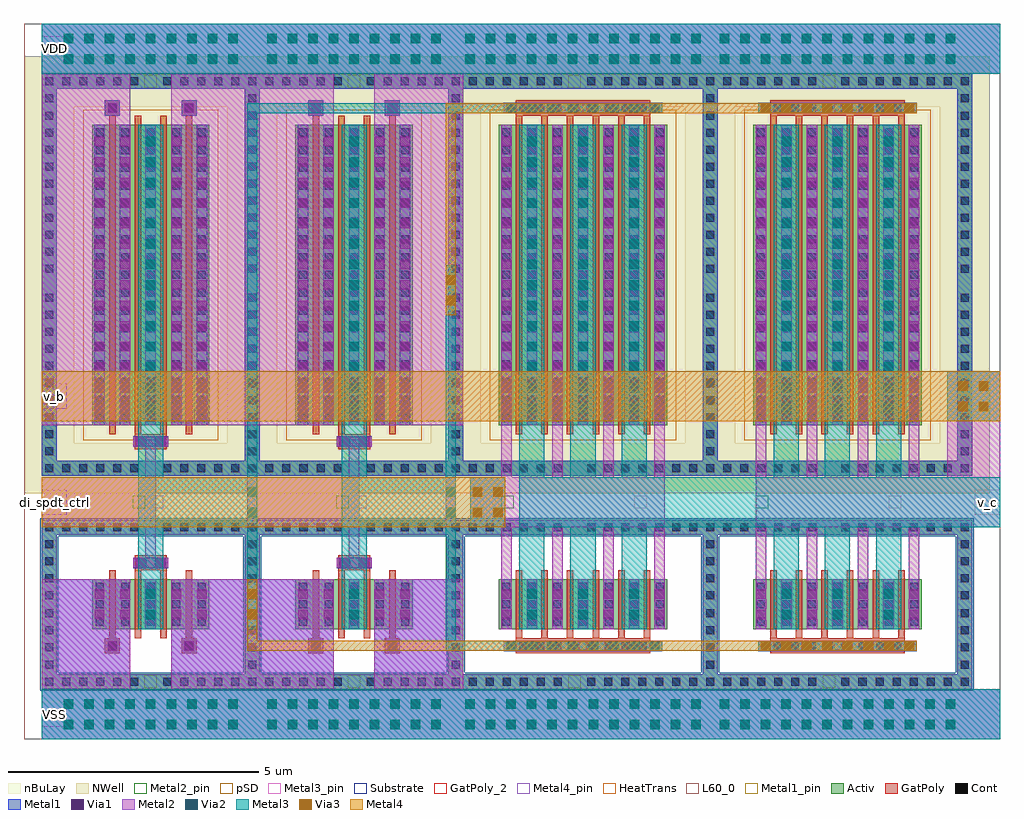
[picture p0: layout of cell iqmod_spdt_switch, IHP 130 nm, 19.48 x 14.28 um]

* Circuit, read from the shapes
.subckt iqmod_spdt_switch VDD VSS di_spdt_ctrl v_a v_b v_c
XM1 VSS VSS VSS VSS sg13_lv_nmos w=1u l=0.13u m=4
XM2 spdt_switch_tg_2/di_tg_ctrl di_spdt_ctrl VSS VSS sg13_lv_nmos w=1u l=0.13u m=2
XM3 spdt_switch_tg_1/di_tg_ctrl spdt_switch_tg_2/di_tg_ctrl VSS VSS sg13_lv_nmos w=1u l=0.13u m=2
XM4 v_c spdt_switch_tg_1/di_tg_ctrl v_a VSS sg13_lv_nmos w=1u l=0.13u m=6
XM5 v_c spdt_switch_tg_2/di_tg_ctrl v_b VSS sg13_lv_nmos w=1u l=0.13u m=6
XM6 VDD VDD VDD VDD sg13_lv_pmos w=6u l=0.13u m=4
XM7 spdt_switch_tg_2/di_tg_ctrl di_spdt_ctrl VDD VDD sg13_lv_pmos w=6u l=0.13u m=2
XM8 spdt_switch_tg_1/di_tg_ctrl spdt_switch_tg_2/di_tg_ctrl VDD VDD sg13_lv_pmos w=6u l=0.13u m=2
XM9 v_c spdt_switch_tg_2/di_tg_ctrl v_a VDD sg13_lv_pmos w=6u l=0.13u m=6
XM10 v_c spdt_switch_tg_1/di_tg_ctrl v_b VDD sg13_lv_pmos w=6u l=0.13u m=6
.ends

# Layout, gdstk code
from math import pi, radians
import gdstk
lib = gdstk.Library(unit=1e-6, precision=1e-09)
def R(c, l, rs):  # rectangles x0, y0, x1, y1
    for r in rs: c.add(gdstk.rectangle(r[:2], r[2:], *l))
def A(c, l, x, y, w, h, nx, ny, dx, dy):  # array of equal rectangles
    R(c, l, [(x+i*dx, y+j*dy, x+i*dx+w, y+j*dy+h) for i in range(nx) for j in range(ny)])
def P(c, l, *ps):  # polygons
    for p in ps: c.add(gdstk.Polygon(p, *l))
Activ = (1, 0)
GatPoly = (5, 0)
GatPoly_2 = (5, 2)
Cont = (6, 0)
Metal1 = (8, 0)
Metal1_pin = (8, 2)
Metal2 = (10, 0)
Metal2_pin = (10, 2)
pSD = (14, 0)
Via1 = (19, 0)
Via2 = (29, 0)
Metal3 = (30, 0)
Metal3_pin = (30, 2)
NWell = (31, 0)
nBuLay = (32, 0)
Substrate = (40, 0)
Via3 = (49, 0)
Metal4 = (50, 0)
Metal4_pin = (50, 2)
HeatTrans = (51, 0)
L60_0 = (60, 0)

nmos_78 = lib.new_cell('nmos$78')
A(nmos_78, Activ, 0, 0, 0.3, 0.3, 5, 1, 0.51, 0)
R(nmos_78, Activ, [(-1.01,-0.89,-0.71,1.89), (3.05,-0.89,3.35,1.89), (0,0,2.34,1), (-1.01,1.89,3.35,2.19)])
P(nmos_78, Activ, [(-1.01,-1.19),(-1.01,1.89),(-0.71,1.89),(-0.71,-0.89),(3.05,-0.89),(3.05,1.89),(-1.01,1.89),(-1.01,2.19),(3.35,2.19),(3.35,-1.19)])
A(nmos_78, GatPoly, 0.34, -0.18, 0.13, 1.36, 4, 1, 0.51, 0)
R(nmos_78, GatPoly_2, [(0.34,-0.18,0.47,1.18)])
A(nmos_78, Cont, -0.94, -1.12, 0.16, 0.16, 6, 2, 0.34, 3.08)
A(nmos_78, Cont, 1.42, -1.12, 0.16, 0.16, 6, 2, 0.34, 3.08)
A(nmos_78, Cont, -0.94, -0.78, 0.16, 0.16, 1, 4, 0, 0.34)
A(nmos_78, Cont, 3.12, -0.78, 0.16, 0.16, 1, 4, 0, 0.34)
A(nmos_78, Cont, 0.07, 0.07, 0.16, 0.16, 5, 3, 0.51, 0.35)
A(nmos_78, Cont, -0.94, 0.6, 0.16, 0.16, 1, 4, 0, 0.34)
A(nmos_78, Cont, 3.12, 0.6, 0.16, 0.16, 1, 4, 0, 0.34)
A(nmos_78, Metal1, 0.07, 0, 0.16, 1, 5, 1, 0.51, 0)
R(nmos_78, Metal1, [(-1.01,-1.19,3.35,-0.89), (-1.01,-0.89,-0.71,1.89), (3.05,-0.89,3.35,1.89), (-1.01,1.89,3.35,2.19)])
R(nmos_78, Metal1_pin, [(0.07,0,0.23,1), (0.58,0,0.74,1)])
R(nmos_78, pSD, [(-1.04,-0.86,-0.68,1.86), (3.02,-0.86,3.38,1.86), (-1.04,1.86,3.38,2.22)])
P(nmos_78, pSD, [(-1.04,-1.22),(-1.04,1.86),(-0.68,1.86),(-0.68,-0.86),(3.02,-0.86),(3.02,1.86),(-1.04,1.86),(-1.04,2.22),(3.38,2.22),(3.38,-1.22)])
R(nmos_78, Substrate, [(-1.04,-0.86,-0.68,1.86), (3.02,-0.86,3.38,1.86), (-1.04,1.86,3.38,2.22)])
P(nmos_78, Substrate, [(-1.04,-1.22),(-1.04,1.86),(-0.68,1.86),(-0.68,-0.86),(3.02,-0.86),(3.02,1.86),(-1.04,1.86),(-1.04,2.22),(3.38,2.22),(3.38,-1.22)])
A(nmos_78, HeatTrans, 0.34, -0.18, 0.13, 1.36, 4, 1, 0.51, 0)
nmos_78.add(gdstk.Label('nmos', (0.405,0.5), layer=63, texttype=0))
nmos_78.add(gdstk.Label('sub!', (1.17,-1.04), layer=63, texttype=0))
nmos_78.add(gdstk.Label('nmos', (0.405,0.5), layer=51, texttype=0))
nmos_78.add(gdstk.Label('nmos', (0.915,0.5), layer=51, texttype=0))
nmos_78.add(gdstk.Label('nmos', (1.425,0.5), layer=51, texttype=0))
nmos_78.add(gdstk.Label('nmos', (1.935,0.5), layer=51, texttype=0))

pmos_78 = lib.new_cell('pmos$78')
A(pmos_78, Activ, 0, 0, 0.3, 0.3, 5, 1, 0.51, 0)
R(pmos_78, Activ, [(-1.01,-0.71,-0.71,6.71), (3.05,-0.71,3.35,6.71), (0,0,2.34,6), (-1.01,6.71,3.35,7.01)])
P(pmos_78, Activ, [(-1.01,-1.01),(-1.01,6.71),(-0.71,6.71),(-0.71,-0.71),(3.05,-0.71),(3.05,6.71),(-1.01,6.71),(-1.01,7.01),(3.35,7.01),(3.35,-1.01)])
A(pmos_78, GatPoly, 0.34, -0.18, 0.13, 6.36, 4, 1, 0.51, 0)
R(pmos_78, GatPoly, [(0.34,-0.18,0.47,6.18)])
A(pmos_78, Cont, -0.94, -0.94, 0.16, 0.16, 6, 2, 0.34, 7.72)
A(pmos_78, Cont, 1.42, -0.94, 0.16, 0.16, 6, 2, 0.34, 7.72)
A(pmos_78, Cont, -0.94, -0.6, 0.16, 0.16, 1, 10, 0, 0.34)
A(pmos_78, Cont, 3.12, -0.6, 0.16, 0.16, 1, 10, 0, 0.34)
A(pmos_78, Cont, 0.07, 0.07, 0.16, 0.16, 5, 4, 0.51, 0.355)
A(pmos_78, Cont, 0.07, 1.495, 0.16, 0.16, 5, 4, 0.51, 0.355)
A(pmos_78, Cont, 0.07, 2.92, 0.16, 0.16, 5, 4, 0.51, 0.355)
A(pmos_78, Cont, -0.94, 3.04, 0.16, 0.16, 1, 11, 0, 0.34)
A(pmos_78, Cont, 3.12, 3.04, 0.16, 0.16, 1, 11, 0, 0.34)
A(pmos_78, Cont, 0.07, 4.345, 0.16, 0.16, 5, 4, 0.51, 0.355)
A(pmos_78, Cont, 0.07, 5.77, 0.16, 0.16, 5, 1, 0.51, 0)
A(pmos_78, Metal1, 0.58, 0, 0.16, 6, 4, 1, 0.51, 0)
R(pmos_78, Metal1, [(-1.01,-1.01,3.35,-0.71), (-1.01,-0.71,-0.71,6.71), (3.05,-0.71,3.35,6.71), (0.07,0,0.23,6), (0.07,0,0.23,6), (0.58,0,0.74,6), (-1.01,6.71,3.35,7.01)])
R(pmos_78, pSD, [(-0.18,-0.3,2.52,6.3)])
R(pmos_78, NWell, [(-1.36,-1.36,3.7,7.36), (-0.31,-0.31,2.65,6.31)])
R(pmos_78, nBuLay, [(-1.36,-0.36,-0.36,6.36), (2.7,-0.36,3.7,6.36), (-1.36,6.36,3.7,7.36)])
P(pmos_78, nBuLay, [(-1.36,-1.36),(-1.36,6.36),(-0.36,6.36),(-0.36,-0.36),(2.7,-0.36),(2.7,6.36),(-1.36,6.36),(-1.36,7.36),(3.7,7.36),(3.7,-1.36)])
R(pmos_78, Substrate, [(2.04,0,2.34,0.3)])
A(pmos_78, HeatTrans, 0.34, -0.18, 0.13, 6.36, 4, 1, 0.51, 0)
pmos_78.add(gdstk.Label('pmos', (0.405,3), layer=63, texttype=0))
pmos_78.add(gdstk.Label('well', (1.17,-0.86), layer=63, texttype=0))
pmos_78.add(gdstk.Label('pmos', (0.405,3), layer=51, texttype=0))
pmos_78.add(gdstk.Label('pmos', (0.915,3), layer=51, texttype=0))
pmos_78.add(gdstk.Label('pmos', (1.425,3), layer=51, texttype=0))
pmos_78.add(gdstk.Label('pmos', (1.935,3), layer=51, texttype=0))

via_stack_726 = lib.new_cell('via_stack$726')
R(via_stack_726, GatPoly, [(-0.32,-0.15,0.32,0.15)])
R(via_stack_726, Cont, [(-0.25,-0.08,-0.09,0.08), (0.09,-0.08,0.25,0.08)])
R(via_stack_726, Metal1, [(-0.35,-0.105,0.35,0.105)])
R(via_stack_726, Metal2, [(-0.35,-0.1,0.35,0.1)])
R(via_stack_726, Via1, [(-0.3,-0.095,-0.11,0.095), (0.11,-0.095,0.3,0.095)])

via_stack_727 = lib.new_cell('via_stack$727')
R(via_stack_727, GatPoly, [(-0.15,-0.15,0.15,0.15)])
R(via_stack_727, Cont, [(-0.08,-0.08,0.08,0.08)])
R(via_stack_727, Metal1, [(-0.145,-0.105,0.145,0.105)])
R(via_stack_727, Metal2, [(-0.145,-0.1,0.145,0.1)])
R(via_stack_727, Via1, [(-0.095,-0.095,0.095,0.095)])

via_stack_728 = lib.new_cell('via_stack$728')
R(via_stack_728, Metal1, [(-0.105,-0.35,0.105,0.35)])
R(via_stack_728, Metal2, [(-0.1,-0.35,0.1,0.35)])
R(via_stack_728, Via1, [(-0.095,-0.3,0.095,-0.11), (-0.095,0.11,0.095,0.3)])
R(via_stack_728, Via2, [(-0.095,-0.3,0.095,-0.11), (-0.095,0.11,0.095,0.3)])
R(via_stack_728, Metal3, [(-0.1,-0.35,0.1,0.35)])

via_stack_729 = lib.new_cell('via_stack$729')
R(via_stack_729, Metal1, [(-0.105,-2.81,0.105,2.81)])
R(via_stack_729, Metal2, [(-0.1,-2.81,0.1,2.81)])
A(via_stack_729, Via1, -0.095, -2.76, 0.19, 0.19, 1, 14, 0, 0.41)
A(via_stack_729, Via2, -0.095, -2.76, 0.19, 0.19, 1, 14, 0, 0.41)
R(via_stack_729, Metal3, [(-0.1,-2.81,0.1,2.81)])

via_stack_730 = lib.new_cell('via_stack$730')
R(via_stack_730, Metal1, [(-1.785,-0.31,1.785,0.31)])
R(via_stack_730, Metal2, [(-1.785,-0.305,1.785,0.305)])
A(via_stack_730, Via1, -1.735, -0.3, 0.19, 0.19, 9, 2, 0.41, 0.41)
A(via_stack_730, Via2, -1.735, -0.3, 0.19, 0.19, 9, 2, 0.41, 0.41)
R(via_stack_730, Metal3, [(-1.785,-0.305,1.785,0.305)])

via_stack_731 = lib.new_cell('via_stack$731')
R(via_stack_731, Metal1, [(-0.105,-0.35,0.105,0.35)])
R(via_stack_731, Metal2, [(-0.1,-0.35,0.1,0.35)])
R(via_stack_731, Via1, [(-0.095,-0.3,0.095,-0.11), (-0.095,0.11,0.095,0.3)])

via_stack_732 = lib.new_cell('via_stack$732')
R(via_stack_732, Metal1, [(-0.105,-2.81,0.105,2.81)])
R(via_stack_732, Metal2, [(-0.1,-2.81,0.1,2.81)])
A(via_stack_732, Via1, -0.095, -2.76, 0.19, 0.19, 1, 14, 0, 0.41)

spdt_switch_inv = lib.new_cell('spdt_switch_inv')
A(spdt_switch_inv, Metal1, 1.405, 6.27, 0.21, 6, 5, 1, 0.51, 0)
R(spdt_switch_inv, Metal1, [(0.35,0,4.71,1), (0.35,1,2.125,3.19), (2.28,1,2.78,1.3), (2.935,1,4.71,3.19), (1.615,1.71,1.915,2.01), (3.145,1.71,3.445,2.01), (2.425,2.19,2.635,3.19), (1.615,12.45,1.915,12.75), (3.145,12.45,3.445,12.75), (2.28,12.98,2.78,13.28), (0.35,13.28,4.71,14.28)])
R(spdt_switch_inv, Metal1_pin, [(2.405,1.025,2.655,1.275), (2.405,13.005,2.655,13.255)])
A(spdt_switch_inv, Metal2, 1.405, 6.27, 0.21, 6, 5, 1, 0.51, 0)
R(spdt_switch_inv, Metal2, [(0.35,0,4.71,1), (0.35,1,2.125,3.19), (2.935,1,4.71,3.19), (1.615,1.71,1.915,2.01), (3.145,1.71,3.445,2.01), (2.425,2.19,2.635,3.19), (2.425,3.62,2.635,5.84), (2.175,4.23,2.425,5.23), (0.35,6.27,2.125,13.28), (0.35,6.27,2.125,13.28), (2.935,6.27,4.71,13.28), (2.935,6.27,4.71,13.28), (1.615,12.45,1.915,12.75), (3.145,12.45,3.445,12.75), (0.35,13.28,4.71,14.28)])
R(spdt_switch_inv, Metal2_pin, [(2.175,4.605,2.425,4.855)])
R(spdt_switch_inv, Metal3, [(0.35,0,4.71,1), (2.28,2.19,2.78,12.27), (2.425,2.19,2.635,3.19), (2.28,4.23,2.78,5.23), (2.425,6.27,2.635,12.27), (0.35,13.28,4.71,14.28)])
P(spdt_switch_inv, Metal3, [(3.03,4.98),(3.03,4.98),(3.03,4.98),(3.03,4.98)])
R(spdt_switch_inv, Metal3_pin, [(2.53,4.605,2.78,4.855)])
spdt_switch_inv.add(gdstk.Reference(nmos_78, (1.36,2.19)))
spdt_switch_inv.add(gdstk.Reference(pmos_78, (1.36,6.27)))
spdt_switch_inv.add(gdstk.Reference(via_stack_726, (2.53,3.52)))
spdt_switch_inv.add(gdstk.Reference(via_stack_726, (2.53,5.94)))
spdt_switch_inv.add(gdstk.Reference(via_stack_727, (1.765,1.86)))
spdt_switch_inv.add(gdstk.Reference(via_stack_728, (2.53,2.69)))
spdt_switch_inv.add(gdstk.Reference(via_stack_727, (3.295,1.86)))
spdt_switch_inv.add(gdstk.Reference(via_stack_729, (2.53,9.27)))
spdt_switch_inv.add(gdstk.Reference(via_stack_730, (2.53,0.5)))
spdt_switch_inv.add(gdstk.Reference(via_stack_731, (3.55,2.69)))
spdt_switch_inv.add(gdstk.Reference(via_stack_731, (3.04,2.69)))
spdt_switch_inv.add(gdstk.Reference(via_stack_731, (2.02,2.69)))
spdt_switch_inv.add(gdstk.Reference(via_stack_731, (1.51,2.69)))
spdt_switch_inv.add(gdstk.Reference(via_stack_730, (2.53,13.78)))
spdt_switch_inv.add(gdstk.Reference(via_stack_727, (3.295,12.6), rotation=pi, x_reflection=True))
spdt_switch_inv.add(gdstk.Reference(via_stack_727, (1.765,12.6)))
spdt_switch_inv.add(gdstk.Reference(via_stack_732, (1.51,9.27)))
spdt_switch_inv.add(gdstk.Reference(via_stack_732, (3.55,9.27), rotation=pi, x_reflection=True))
spdt_switch_inv.add(gdstk.Reference(via_stack_732, (2.02,9.27)))
spdt_switch_inv.add(gdstk.Reference(via_stack_732, (3.04,9.27), rotation=pi, x_reflection=True))
spdt_switch_inv.add(gdstk.Label('vin', (2.3,4.73), layer=10, texttype=25))
spdt_switch_inv.add(gdstk.Label('VDD', (2.53,13.13), layer=8, texttype=25))
spdt_switch_inv.add(gdstk.Label('VSS', (2.53,1.15), layer=8, texttype=25))
spdt_switch_inv.add(gdstk.Label('vout', (2.655,4.73), layer=30, texttype=25))

pmos_79 = lib.new_cell('pmos$79')
A(pmos_79, Activ, 0, 0, 0.3, 0.3, 7, 1, 0.51, 0)
R(pmos_79, Activ, [(-1.01,-0.71,-0.71,6.71), (4.07,-0.71,4.37,6.71), (0,0,3.36,6), (-1.01,6.71,4.37,7.01)])
P(pmos_79, Activ, [(-1.01,-1.01),(-1.01,6.71),(-0.71,6.71),(-0.71,-0.71),(4.07,-0.71),(4.07,6.71),(-1.01,6.71),(-1.01,7.01),(4.37,7.01),(4.37,-1.01)])
A(pmos_79, GatPoly, 0.34, -0.18, 0.13, 6.36, 6, 1, 0.51, 0)
R(pmos_79, GatPoly, [(0.34,-0.18,0.47,6.18)])
A(pmos_79, Cont, -0.94, -0.94, 0.16, 0.16, 7, 2, 0.34, 7.72)
A(pmos_79, Cont, 1.76, -0.94, 0.16, 0.16, 8, 2, 0.34, 7.72)
A(pmos_79, Cont, -0.94, -0.6, 0.16, 0.16, 1, 10, 0, 0.34)
A(pmos_79, Cont, 4.14, -0.6, 0.16, 0.16, 1, 10, 0, 0.34)
A(pmos_79, Cont, 0.07, 0.07, 0.16, 0.16, 7, 4, 0.51, 0.355)
A(pmos_79, Cont, 0.07, 1.495, 0.16, 0.16, 7, 4, 0.51, 0.355)
A(pmos_79, Cont, 0.07, 2.92, 0.16, 0.16, 7, 4, 0.51, 0.355)
A(pmos_79, Cont, -0.94, 3.04, 0.16, 0.16, 1, 11, 0, 0.34)
A(pmos_79, Cont, 4.14, 3.04, 0.16, 0.16, 1, 11, 0, 0.34)
A(pmos_79, Cont, 0.07, 4.345, 0.16, 0.16, 7, 4, 0.51, 0.355)
A(pmos_79, Cont, 0.07, 5.77, 0.16, 0.16, 7, 1, 0.51, 0)
A(pmos_79, Metal1, 0.58, 0, 0.16, 6, 6, 1, 0.51, 0)
R(pmos_79, Metal1, [(-1.01,-1.01,4.37,-0.71), (-1.01,-0.71,-0.71,6.71), (4.07,-0.71,4.37,6.71), (0.07,0,0.23,6), (0.07,0,0.23,6), (0.58,0,0.74,6), (-1.01,6.71,4.37,7.01)])
R(pmos_79, pSD, [(-0.18,-0.3,3.54,6.3)])
R(pmos_79, NWell, [(-1.36,-1.36,4.72,7.36), (-0.31,-0.31,3.67,6.31)])
R(pmos_79, nBuLay, [(-1.36,-0.36,-0.36,6.36), (3.72,-0.36,4.72,6.36), (-1.36,6.36,4.72,7.36)])
P(pmos_79, nBuLay, [(-1.36,-1.36),(-1.36,6.36),(-0.36,6.36),(-0.36,-0.36),(3.72,-0.36),(3.72,6.36),(-1.36,6.36),(-1.36,7.36),(4.72,7.36),(4.72,-1.36)])
R(pmos_79, Substrate, [(3.06,0,3.36,0.3)])
A(pmos_79, HeatTrans, 0.34, -0.18, 0.13, 6.36, 6, 1, 0.51, 0)
pmos_79.add(gdstk.Label('pmos', (0.405,3), layer=63, texttype=0))
pmos_79.add(gdstk.Label('well', (1.68,-0.86), layer=63, texttype=0))
pmos_79.add(gdstk.Label('pmos', (0.405,3), layer=51, texttype=0))
pmos_79.add(gdstk.Label('pmos', (0.915,3), layer=51, texttype=0))
pmos_79.add(gdstk.Label('pmos', (1.425,3), layer=51, texttype=0))
pmos_79.add(gdstk.Label('pmos', (1.935,3), layer=51, texttype=0))
pmos_79.add(gdstk.Label('pmos', (2.445,3), layer=51, texttype=0))
pmos_79.add(gdstk.Label('pmos', (2.955,3), layer=51, texttype=0))

nmos_79 = lib.new_cell('nmos$79')
A(nmos_79, Activ, 0, 0, 0.3, 0.3, 7, 1, 0.51, 0)
R(nmos_79, Activ, [(-1.01,-0.89,-0.71,1.89), (4.07,-0.89,4.37,1.89), (0,0,3.36,1), (-1.01,1.89,4.37,2.19)])
P(nmos_79, Activ, [(-1.01,-1.19),(-1.01,1.89),(-0.71,1.89),(-0.71,-0.89),(4.07,-0.89),(4.07,1.89),(-1.01,1.89),(-1.01,2.19),(4.37,2.19),(4.37,-1.19)])
A(nmos_79, GatPoly, 0.34, -0.18, 0.13, 1.36, 6, 1, 0.51, 0)
R(nmos_79, GatPoly_2, [(0.34,-0.18,0.47,1.18)])
A(nmos_79, Cont, -0.94, -1.12, 0.16, 0.16, 7, 2, 0.34, 3.08)
A(nmos_79, Cont, 1.76, -1.12, 0.16, 0.16, 8, 2, 0.34, 3.08)
A(nmos_79, Cont, -0.94, -0.78, 0.16, 0.16, 1, 4, 0, 0.34)
A(nmos_79, Cont, 4.14, -0.78, 0.16, 0.16, 1, 4, 0, 0.34)
A(nmos_79, Cont, 0.07, 0.07, 0.16, 0.16, 7, 3, 0.51, 0.35)
A(nmos_79, Cont, -0.94, 0.6, 0.16, 0.16, 1, 4, 0, 0.34)
A(nmos_79, Cont, 4.14, 0.6, 0.16, 0.16, 1, 4, 0, 0.34)
A(nmos_79, Metal1, 0.07, 0, 0.16, 1, 7, 1, 0.51, 0)
R(nmos_79, Metal1, [(-1.01,-1.19,4.37,-0.89), (-1.01,-0.89,-0.71,1.89), (4.07,-0.89,4.37,1.89), (-1.01,1.89,4.37,2.19)])
R(nmos_79, Metal1_pin, [(0.07,0,0.23,1), (0.58,0,0.74,1)])
R(nmos_79, pSD, [(-1.04,-0.86,-0.68,1.86), (4.04,-0.86,4.4,1.86), (-1.04,1.86,4.4,2.22)])
P(nmos_79, pSD, [(-1.04,-1.22),(-1.04,1.86),(-0.68,1.86),(-0.68,-0.86),(4.04,-0.86),(4.04,1.86),(-1.04,1.86),(-1.04,2.22),(4.4,2.22),(4.4,-1.22)])
R(nmos_79, Substrate, [(-1.04,-0.86,-0.68,1.86), (4.04,-0.86,4.4,1.86), (-1.04,1.86,4.4,2.22)])
P(nmos_79, Substrate, [(-1.04,-1.22),(-1.04,1.86),(-0.68,1.86),(-0.68,-0.86),(4.04,-0.86),(4.04,1.86),(-1.04,1.86),(-1.04,2.22),(4.4,2.22),(4.4,-1.22)])
A(nmos_79, HeatTrans, 0.34, -0.18, 0.13, 1.36, 6, 1, 0.51, 0)
nmos_79.add(gdstk.Label('nmos', (0.405,0.5), layer=63, texttype=0))
nmos_79.add(gdstk.Label('sub!', (1.68,-1.04), layer=63, texttype=0))
nmos_79.add(gdstk.Label('nmos', (0.405,0.5), layer=51, texttype=0))
nmos_79.add(gdstk.Label('nmos', (0.915,0.5), layer=51, texttype=0))
nmos_79.add(gdstk.Label('nmos', (1.425,0.5), layer=51, texttype=0))
nmos_79.add(gdstk.Label('nmos', (1.935,0.5), layer=51, texttype=0))
nmos_79.add(gdstk.Label('nmos', (2.445,0.5), layer=51, texttype=0))
nmos_79.add(gdstk.Label('nmos', (2.955,0.5), layer=51, texttype=0))

via_stack_733 = lib.new_cell('via_stack$733')
R(via_stack_733, Metal1, [(-0.105,-0.35,0.105,0.35)])
R(via_stack_733, Metal2, [(-0.1,-0.35,0.1,0.35)])
R(via_stack_733, Via1, [(-0.095,-0.3,0.095,-0.11), (-0.095,0.11,0.095,0.3)])

via_stack_734 = lib.new_cell('via_stack$734')
R(via_stack_734, GatPoly, [(-1.34,-0.15,1.34,0.15)])
A(via_stack_734, Cont, -1.27, -0.08, 0.16, 0.16, 8, 1, 0.34, 0)
R(via_stack_734, Metal1, [(-1.58,-0.105,1.58,0.105)])
R(via_stack_734, Metal2, [(-1.58,-0.1,1.58,0.1)])
A(via_stack_734, Via1, -1.53, -0.095, 0.19, 0.19, 8, 1, 0.41, 0)

via_stack_735 = lib.new_cell('via_stack$735')
R(via_stack_735, Metal1, [(-0.105,-0.35,0.105,0.35)])
R(via_stack_735, Metal2, [(-0.1,-0.35,0.1,0.35)])
R(via_stack_735, Via1, [(-0.095,-0.3,0.095,-0.11), (-0.095,0.11,0.095,0.3)])
R(via_stack_735, Via2, [(-0.095,-0.3,0.095,-0.11), (-0.095,0.11,0.095,0.3)])
R(via_stack_735, Metal3, [(-0.1,-0.35,0.1,0.35)])

via_stack_736 = lib.new_cell('via_stack$736')
R(via_stack_736, Metal1, [(-2.4,-0.31,2.4,0.31)])
R(via_stack_736, Metal2, [(-2.4,-0.305,2.4,0.305)])
A(via_stack_736, Via1, -2.35, -0.3, 0.19, 0.19, 12, 2, 0.41, 0.41)
A(via_stack_736, Via2, -2.35, -0.3, 0.19, 0.19, 12, 2, 0.41, 0.41)
R(via_stack_736, Metal3, [(-2.4,-0.305,2.4,0.305)])

via_stack_737 = lib.new_cell('via_stack$737')
R(via_stack_737, Metal1, [(-0.105,-2.81,0.105,2.81)])
R(via_stack_737, Metal2, [(-0.1,-2.81,0.1,2.81)])
A(via_stack_737, Via1, -0.095, -2.76, 0.19, 0.19, 1, 14, 0, 0.41)
A(via_stack_737, Via2, -0.095, -2.76, 0.19, 0.19, 1, 14, 0, 0.41)
R(via_stack_737, Metal3, [(-0.1,-2.81,0.1,2.81)])

via_stack_738 = lib.new_cell('via_stack$738')
R(via_stack_738, Metal1, [(-0.105,-2.81,0.105,2.81)])
R(via_stack_738, Metal2, [(-0.1,-2.81,0.1,2.81)])
A(via_stack_738, Via1, -0.095, -2.76, 0.19, 0.19, 1, 14, 0, 0.41)

spdt_switch_tg = lib.new_cell('spdt_switch_tg')
A(spdt_switch_tg, Metal1, 2.425, 2.19, 0.21, 1, 3, 1, 0.51, 0)
A(spdt_switch_tg, Metal1, 3.445, 2.19, 0.21, 1, 3, 1, 0.51, 0)
A(spdt_switch_tg, Metal1, 1.405, 6.27, 0.21, 6, 7, 1, 0.51, 0)
R(spdt_switch_tg, Metal1, [(0.35,0,5.73,1), (2.62,1,3.12,1.3), (1.405,2.19,1.615,3.19), (1.405,2.19,1.615,3.19), (1.915,2.19,2.125,3.19), (1.915,2.19,2.125,3.19), (2.425,2.19,2.635,3.19), (4.465,2.19,4.675,3.19), (2.62,12.98,3.12,13.28), (0.35,13.28,5.73,14.28)])
R(spdt_switch_tg, Metal1_pin, [(2.745,1.025,2.995,1.275), (2.745,13.005,2.995,13.255)])
A(spdt_switch_tg, Metal2, 1.405, 2.19, 0.21, 1, 7, 1, 0.51, 0)
A(spdt_switch_tg, Metal2, 1.405, 3.19, 0.21, 3.08, 4, 1, 1.02, 0)
A(spdt_switch_tg, Metal2, 1.405, 6.27, 0.21, 6, 7, 1, 0.51, 0)
R(spdt_switch_tg, Metal2, [(0.35,0,5.73,1), (2.93,1.76,3.15,1.96), (1.405,4.23,3.655,5.23), (1.405,4.23,4.675,5.23), (2.93,12.5,3.15,12.7), (0.35,13.28,5.73,14.28)])
R(spdt_switch_tg, Metal2_pin, [(2.965,1.785,3.115,1.935), (1.405,4.605,1.655,4.855), (2.965,12.525,3.115,12.675)])
A(spdt_switch_tg, Metal3, 1.77, 2.19, 0.5, 10.08, 3, 1, 1.02, 0)
A(spdt_switch_tg, Metal3, 1.915, 2.19, 0.21, 1, 3, 1, 1.02, 0)
A(spdt_switch_tg, Metal3, 1.915, 6.27, 0.21, 6, 3, 1, 1.02, 0)
R(spdt_switch_tg, Metal3, [(0.35,0,5.73,1), (1.77,4.23,4.31,5.23), (0.35,13.28,5.73,14.28)])
R(spdt_switch_tg, Metal3_pin, [(4.06,4.605,4.31,4.855)])
spdt_switch_tg.add(gdstk.Reference(pmos_79, (1.36,6.27)))
spdt_switch_tg.add(gdstk.Reference(nmos_79, (1.36,2.19)))
spdt_switch_tg.add(gdstk.Reference(via_stack_733, (1.51,2.69)))
spdt_switch_tg.add(gdstk.Reference(via_stack_734, (3.04,1.86)))
spdt_switch_tg.add(gdstk.Reference(via_stack_735, (2.02,2.69)))
spdt_switch_tg.add(gdstk.Reference(via_stack_735, (3.04,2.69)))
spdt_switch_tg.add(gdstk.Reference(via_stack_735, (4.06,2.69)))
spdt_switch_tg.add(gdstk.Reference(via_stack_733, (2.53,2.69)))
spdt_switch_tg.add(gdstk.Reference(via_stack_733, (3.55,2.69)))
spdt_switch_tg.add(gdstk.Reference(via_stack_733, (4.57,2.69)))
spdt_switch_tg.add(gdstk.Reference(via_stack_736, (3.04,13.78)))
spdt_switch_tg.add(gdstk.Reference(via_stack_736, (3.04,0.5)))
spdt_switch_tg.add(gdstk.Reference(via_stack_734, (3.04,12.6)))
spdt_switch_tg.add(gdstk.Reference(via_stack_737, (4.06,9.27)))
spdt_switch_tg.add(gdstk.Reference(via_stack_738, (1.51,9.27)))
spdt_switch_tg.add(gdstk.Reference(via_stack_738, (3.55,9.27), rotation=pi, x_reflection=True))
spdt_switch_tg.add(gdstk.Reference(via_stack_738, (2.53,9.27)))
spdt_switch_tg.add(gdstk.Reference(via_stack_738, (4.57,9.27), rotation=pi, x_reflection=True))
spdt_switch_tg.add(gdstk.Reference(via_stack_737, (3.04,9.27)))
spdt_switch_tg.add(gdstk.Reference(via_stack_737, (2.02,9.27)))
spdt_switch_tg.add(gdstk.Label('di_tg_ctrl_n', (3.04,12.6), layer=10, texttype=25))
spdt_switch_tg.add(gdstk.Label('v_a', (1.53,4.73), layer=10, texttype=25))
spdt_switch_tg.add(gdstk.Label('di_tg_ctrl', (3.04,1.86), layer=10, texttype=25))
spdt_switch_tg.add(gdstk.Label('VDD', (2.87,13.13), layer=8, texttype=25))
spdt_switch_tg.add(gdstk.Label('VSS', (2.87,1.15), layer=8, texttype=25))
spdt_switch_tg.add(gdstk.Label('v_b', (4.185,4.73), layer=30, texttype=25))

via_44 = lib.new_cell('Via$44')
R(via_44, Metal2, [(-0.1,-0.5,0.1,0.5)])
R(via_44, Via2, [(-0.095,-0.3,0.095,-0.11), (-0.095,0.11,0.095,0.3)])
R(via_44, Metal3, [(-0.1,-0.5,0.1,0.5)])

via_45 = lib.new_cell('Via$45')
R(via_45, Metal3, [(-0.1,-0.5,0.1,0.5)])
R(via_45, Via3, [(-0.095,-0.3,0.095,-0.11), (-0.095,0.11,0.095,0.3)])
R(via_45, Metal4, [(-0.1,-0.5,0.1,0.5)])

via_stack_739 = lib.new_cell('via_stack$739')
R(via_stack_739, Metal2, [(-1.58,-0.1,1.58,0.1)])
A(via_stack_739, Via2, -1.53, -0.095, 0.19, 0.19, 8, 1, 0.41, 0)
R(via_stack_739, Metal3, [(-1.58,-0.1,1.58,0.1)])
A(via_stack_739, Via3, -1.53, -0.095, 0.19, 0.19, 8, 1, 0.41, 0)
R(via_stack_739, Metal4, [(-1.58,-0.1,1.58,0.1)])

via_stack_740 = lib.new_cell('via_stack$740')
R(via_stack_740, Metal2, [(-1.58,-0.1,1.58,0.1)])
A(via_stack_740, Via2, -1.53, -0.095, 0.19, 0.19, 8, 1, 0.41, 0)
R(via_stack_740, Metal3, [(-1.58,-0.1,1.58,0.1)])

via_stack_741 = lib.new_cell('via_stack$741')
R(via_stack_741, Metal2, [(-0.35,-0.305,0.35,0.305)])
R(via_stack_741, Via2, [(-0.3,-0.3,-0.11,-0.11), (0.11,-0.3,0.3,-0.11), (-0.3,0.11,-0.11,0.3), (0.11,0.11,0.3,0.3)])
R(via_stack_741, Metal3, [(-0.35,-0.305,0.35,0.305)])
R(via_stack_741, Via3, [(-0.3,-0.3,-0.11,-0.11), (0.11,-0.3,0.3,-0.11), (-0.3,0.11,-0.11,0.3), (0.11,0.11,0.3,0.3)])
R(via_stack_741, Metal4, [(-0.35,-0.305,0.35,0.305)])

iqmod_spdt_switch = lib.new_cell('iqmod_spdt_switch')
R(iqmod_spdt_switch, Metal1, [(18.93,0,19.485,1), (18.93,13.28,19.485,14.28)])
R(iqmod_spdt_switch, Metal2, [(18.93,0,19.485,1), (0.35,4.23,2.175,5.23), (4.66,4.23,6.235,5.23), (8.905,4.23,9.525,5.23), (17.875,4.23,19.485,5.23), (18.43,5.23,19.485,7.345), (18.43,6.345,19.485,7.345), (18.93,13.28,19.485,14.28)])
R(iqmod_spdt_switch, Metal2_pin, [(0.35,4.48,0.85,4.98)])
R(iqmod_spdt_switch, Metal3, [(18.93,0,19.485,1), (8.42,1.76,8.62,4.23), (8.62,1.76,9.58,1.96), (9.58,1.76,12.74,1.96), (14.66,1.76,17.82,1.96), (4.46,3.19,4.66,4.23), (2.78,4.23,4.46,5.23), (6.84,4.23,8.42,5.23), (8.905,4.23,9.605,5.23), (12.43,4.23,14.97,5.23), (17.51,4.23,19.485,5.23), (4.46,5.23,4.66,12.5), (8.42,5.23,8.62,8.46), (18.43,6.345,19.485,7.345), (4.46,12.5,9.58,12.7), (9.58,12.5,12.74,12.7), (14.66,12.5,17.82,12.7), (18.93,13.28,19.485,14.28)])
R(iqmod_spdt_switch, Metal3_pin, [(0.35,0.25,0.85,0.75), (18.985,4.48,19.485,4.98), (0.35,13.53,0.85,14.03)])
R(iqmod_spdt_switch, Metal4, [(4.46,1.76,14.66,1.96), (14.66,1.76,17.82,1.96), (4.46,1.96,4.66,2.19), (0.35,4.23,9.605,5.23), (8.905,4.23,9.605,5.23), (0.35,6.345,19.485,7.345), (18.43,6.345,19.485,7.345), (8.42,9.46,8.62,12.5), (8.42,12.5,14.66,12.7), (14.66,12.5,17.82,12.7)])
R(iqmod_spdt_switch, Metal4_pin, [(0.35,4.48,0.85,4.98), (0.35,6.595,0.85,7.095)])
R(iqmod_spdt_switch, L60_0, [(0,0,19.485,14.28)])
iqmod_spdt_switch.add(gdstk.Reference(spdt_switch_inv, (0,0)))
iqmod_spdt_switch.add(gdstk.Reference(spdt_switch_tg, (8.12,0)))
iqmod_spdt_switch.add(gdstk.Reference(spdt_switch_tg, (13.2,0)))
iqmod_spdt_switch.add(gdstk.Reference(via_44, (4.56,4.73)))
iqmod_spdt_switch.add(gdstk.Reference(spdt_switch_inv, (4.06,0)))
iqmod_spdt_switch.add(gdstk.Reference(via_44, (8.52,4.73)))
iqmod_spdt_switch.add(gdstk.Reference(via_45, (8.52,8.96)))
iqmod_spdt_switch.add(gdstk.Reference(via_stack_739, (16.24,12.6)))
iqmod_spdt_switch.add(gdstk.Reference(via_stack_740, (11.16,12.6)))
iqmod_spdt_switch.add(gdstk.Reference(via_stack_740, (11.16,1.86)))
iqmod_spdt_switch.add(gdstk.Reference(via_stack_739, (16.24,1.86)))
iqmod_spdt_switch.add(gdstk.Reference(via_45, (4.56,2.69)))
iqmod_spdt_switch.add(gdstk.Reference(via_stack_741, (9.255,4.73)))
iqmod_spdt_switch.add(gdstk.Reference(via_stack_741, (18.955,6.845)))
iqmod_spdt_switch.add(gdstk.Label('di_spdt_ctrl', (0.6,4.73), layer=10, texttype=25))
iqmod_spdt_switch.add(gdstk.Label('v_c', (19.235,4.73), layer=30, texttype=25))
iqmod_spdt_switch.add(gdstk.Label('VDD', (0.6,13.78), layer=30, texttype=25))
iqmod_spdt_switch.add(gdstk.Label('VSS', (0.6,0.5), layer=30, texttype=25))
iqmod_spdt_switch.add(gdstk.Label('v_a', (0.6,4.73), layer=50, texttype=25))
iqmod_spdt_switch.add(gdstk.Label('v_b', (0.6,6.845), layer=50, texttype=25))

lib.write_gds('iqmod_spdt_switch.gds')
